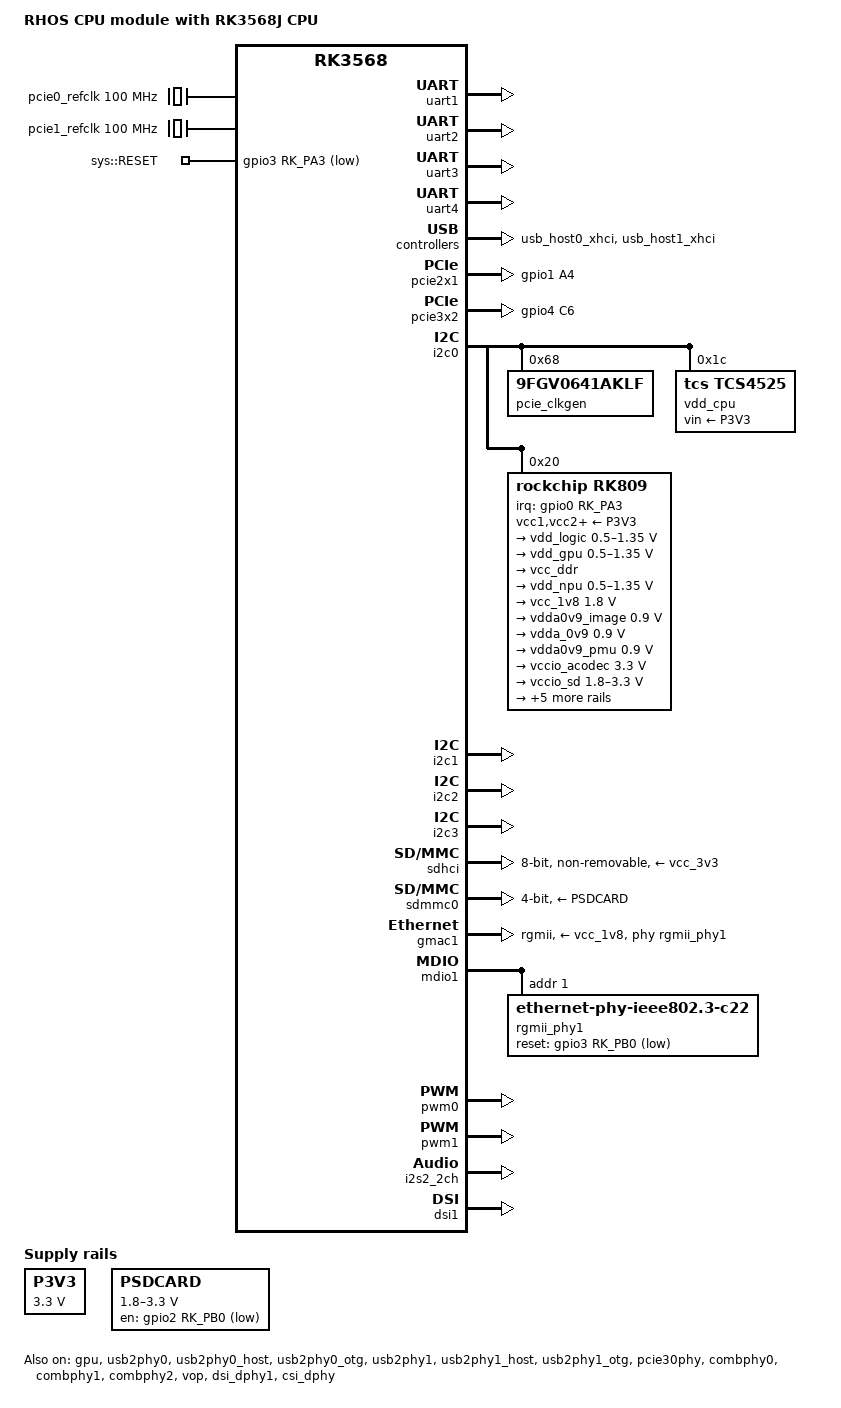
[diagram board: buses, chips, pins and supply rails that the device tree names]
// SPDX-License-Identifier: (GPL-2.0 OR MIT)
/*
 * Copyright (C) 2022 Radioavionica Corp., Alex A. Mihaylov <minimumlaw@rambler.ru>
 */

/dts-v1/;
#include <dt-bindings/gpio/gpio.h>
#include <dt-bindings/leds/common.h>
#include <dt-bindings/pinctrl/rockchip.h>
#include <dt-bindings/soc/rockchip,vop2.h>
#include "rk3568.dtsi"

/ {
	model = "RHOS CPU module with RK3568J CPU";
	compatible = "ravion,rk3568-rhos", "rockchip,rk3568";

	aliases {
		mmc0 = &sdhci;
		mmc1 = &sdmmc0;
	};

	chosen: chosen {
		stdout-path = "serial2:115200n8";
	};

	/*
	 * Regulators
	 */
	P3V3: vcc3v3-sys-regulator { /* Input 3.3V Voltage for SoM board */
		compatible = "regulator-fixed";
		regulator-name = "P3V3";
		regulator-always-on;
		regulator-boot-on;
		regulator-min-microvolt = <3300000>;
		regulator-max-microvolt = <3300000>;
	};

	PSDCARD: sdcard-vmmc-regulatror {
		pinctrl-names = "default";
		pinctrl-0 = <&psdcard_pins>;
		compatible = "regulator-gpio";
		regulator-name = "PSDCARD";
		regulator-min-microvolt = <1800000>;
		regulator-max-microvolt = <3300000>;
		regulator-always-on;
		regulator-boot-on;
		enable-gpios = <&gpio2 RK_PB0 GPIO_ACTIVE_LOW>;	/* soDimm157 */
		gpios = <&gpio2 RK_PB7 GPIO_ACTIVE_HIGH>;	/* soDimm159 */
		states =
		    <1800000 0x0>,
		    <3300000 0x1>;
	};

	/*
	 * Clock sources
	 */
	pcie0_refclk: pcie0-refclk { /* DD8, DIF0, PCIe3 */
		compatible = "fixed-clock";
		#clock-cells = <0>;
		clock-frequency = <100000000>;
	};

	pcie1_refclk: pcie1-refclk { /* DD8, DIF1, PCIe2 */
		compatible = "fixed-clock";
		#clock-cells = <0>;
		clock-frequency = <100000000>;
	};

	gpio-leds {
		compatible = "gpio-leds";

		sys_rst {
			label = "sys::RESET";
			gpios = <&gpio3 RK_PA3 GPIO_ACTIVE_LOW>;	/* soDimm165 */
			default-state = "off";
		};
	};
};

/*
 * CPU and them power management
 */
&cpu0 {	cpu-supply = <&vdd_cpu>; };
&cpu1 {	cpu-supply = <&vdd_cpu>; };
&cpu2 {	cpu-supply = <&vdd_cpu>; };
&cpu3 {	cpu-supply = <&vdd_cpu>; };

/*
 * GPU and them power management
 */
&gpu {
	mali-supply = <&vdd_gpu>;
	status = "okay";
};

/*
 * UARTs
 */
&uart1 {			/* Bluetooth UART3 on module */
	pinctrl-names = "default";
	pinctrl-0 = <&uart1m0_xfer
		    &uart1m0_ctsn
		    &uart1m0_rtsn>;
	uart-has-rtscts;
	status = "okay";
};
&uart2 { status = "okay"; };	/* Debug UART0 on module */
&uart3 { status = "okay"; };	/* Generic UART1 on module */
&uart4 {			/* Generic UART2 on module */
	pinctrl-0 = <&uart4m1_xfer>;
	status = "okay";
};

/*
 * USB interfaces
 */
&usb_host0_xhci {
	extcon = <&usb2phy0>;
	status = "okay";
};
&usb2phy0      { status = "okay"; };
&usb2phy0_host { status = "okay"; };
&usb2phy0_otg  { status = "okay"; };

&usb_host1_xhci {
	extcon = <&usb2phy1>;
	status = "okay";
};
&usb2phy1      { status = "okay"; };
&usb2phy1_host { status = "okay"; };
&usb2phy1_otg  { status = "okay"; };

/*
 * PCI-e interfaces
 */
&pcie2x1 {
	pinctrl-names = "default";
	pinctrl-0 = <&pcie20m2_pins
		     &pcie2_clkreq_soc>; /* pull-up GPIO4 C6 - PCI0_CLKREQ_SOC */
	status = "okay";
};

&pcie30phy { status = "okay"; };
&pcie3x2 {
	pinctrl-names = "default";
	pinctrl-0 = <&pcie30x2m2_pins
		     &pcie3_clkreq_soc>; /* pull-up GPIO1 A4 - PCI1_CLKREQ_SOC */
	status = "okay";
};

/*
 * I2C/SMBUS
 */
&i2c0 { /* PMIC, CPU voltage */
	status = "okay";

	pcie_clkgen: glkgen@68 { /* DD8 - not have driver this time */
		compatible = "9FGV0641AKLF";
		reg = <0x68>;
	};

	vdd_cpu: regulator@1c {
		compatible = "tcs,tcs4525";
		reg = <0x1c>;
		fcs,suspend-voltage-selector = <1>;
		regulator-name = "vdd_cpu";
		regulator-always-on;
		regulator-boot-on;
		regulator-min-microvolt = <800000>;
		regulator-max-microvolt = <1150000>;
		regulator-ramp-delay = <2300>;
		vin-supply = <&P3V3>;
		status = "okay";

		regulator-state-mem {
			regulator-off-in-suspend;
		};
	};

	rk809: pmic@20 {
		compatible = "rockchip,rk809";
		reg = <0x20>;
		interrupt-parent = <&gpio0>;
		interrupts = <RK_PA3 IRQ_TYPE_LEVEL_LOW>;
		assigned-clocks = <&cru I2S1_MCLKOUT_TX>;
		assigned-clock-parents = <&cru CLK_I2S1_8CH_TX>;
		#clock-cells = <1>;
		clock-names = "mclk";
		clocks = <&cru I2S1_MCLKOUT_TX>;
		pinctrl-names = "default";
		pinctrl-0 = <&pmic_int>, <&i2s1m0_mclk>;
		rockchip,system-power-controller;
		#sound-dai-cells = <0>;
		vcc1-supply = <&P3V3>;
		vcc2-supply = <&P3V3>;
		vcc3-supply = <&P3V3>;
		vcc4-supply = <&P3V3>;
		vcc5-supply = <&P3V3>;
		vcc6-supply = <&P3V3>; /* Via uncontrolled DA3 */
		vcc7-supply = <&P3V3>;
		vcc8-supply = <&P3V3>;
		vcc9-supply = <&P3V3>;
		wakeup-source;

		regulators {
			vdd_logic: DCDC_REG1 {
				regulator-name = "vdd_logic";
				regulator-always-on;
				regulator-boot-on;
				regulator-initial-mode = <0x2>;
				regulator-min-microvolt = <500000>;
				regulator-max-microvolt = <1350000>;
				regulator-ramp-delay = <6001>;

				regulator-state-mem {
					regulator-off-in-suspend;
				};
			};

			vdd_gpu: DCDC_REG2 {
				regulator-name = "vdd_gpu";
				regulator-always-on;
				regulator-initial-mode = <0x2>;
				regulator-min-microvolt = <500000>;
				regulator-max-microvolt = <1350000>;
				regulator-ramp-delay = <6001>;

				regulator-state-mem {
					regulator-off-in-suspend;
				};
			};

			vcc_ddr: DCDC_REG3 {
				regulator-name = "vcc_ddr";
				regulator-always-on;
				regulator-boot-on;
				regulator-initial-mode = <0x2>;

				regulator-state-mem {
					regulator-on-in-suspend;
				};
			};

			vdd_npu: DCDC_REG4 {
				regulator-name = "vdd_npu";
				regulator-initial-mode = <0x2>;
				regulator-min-microvolt = <500000>;
				regulator-max-microvolt = <1350000>;
				regulator-ramp-delay = <6001>;

				regulator-state-mem {
					regulator-off-in-suspend;
				};
			};

			vcc_1v8: DCDC_REG5 {
				regulator-name = "vcc_1v8";
				regulator-always-on;
				regulator-boot-on;
				regulator-min-microvolt = <1800000>;
				regulator-max-microvolt = <1800000>;

				regulator-state-mem {
					regulator-off-in-suspend;
				};
			};

			vdda0v9_image: LDO_REG1 {
				regulator-name = "vdda0v9_image";
				regulator-min-microvolt = <900000>;
				regulator-max-microvolt = <900000>;
				regulator-always-on;
				regulator-boot-on;


				regulator-state-mem {
					regulator-off-in-suspend;
				};
			};

			vdda_0v9: LDO_REG2 {
				regulator-name = "vdda_0v9";
				regulator-always-on;
				regulator-boot-on;
				regulator-min-microvolt = <900000>;
				regulator-max-microvolt = <900000>;

				regulator-state-mem {
					regulator-off-in-suspend;
				};
			};

			vdda0v9_pmu: LDO_REG3 {
				regulator-name = "vdda0v9_pmu";
				regulator-always-on;
				regulator-boot-on;
				regulator-min-microvolt = <900000>;
				regulator-max-microvolt = <900000>;

				regulator-state-mem {
					regulator-on-in-suspend;
					regulator-suspend-microvolt = <900000>;
				};
			};

			vccio_acodec: LDO_REG4 {
				regulator-name = "vccio_acodec";
				regulator-always-on;
				regulator-min-microvolt = <3300000>;
				regulator-max-microvolt = <3300000>;

				regulator-state-mem {
					regulator-on-in-suspend;
				};
			};

			vccio_sd: LDO_REG5 {
				regulator-name = "vccio_sd";
				regulator-min-microvolt = <1800000>;
				regulator-max-microvolt = <3300000>;
				regulator-always-on;

				regulator-state-mem {
					regulator-on-in-suspend;
				};
			};

			vcc3v3_pmu: LDO_REG6 {
				regulator-name = "vcc3v3_pmu";
				regulator-always-on;
				regulator-boot-on;
				regulator-min-microvolt = <3300000>;
				regulator-max-microvolt = <3300000>;

				regulator-state-mem {
					regulator-on-in-suspend;
					regulator-suspend-microvolt = <3300000>;
				};
			};

			vcca_1v8: LDO_REG7 {
				regulator-name = "vcca_1v8";
				regulator-always-on;
				regulator-boot-on;
				regulator-min-microvolt = <1800000>;
				regulator-max-microvolt = <1800000>;

				regulator-state-mem {
					regulator-off-in-suspend;
				};
			};

			vcca1v8_pmu: LDO_REG8 {
				regulator-name = "vcca1v8_pmu";
				regulator-always-on;
				regulator-boot-on;
				regulator-min-microvolt = <1800000>;
				regulator-max-microvolt = <1800000>;

				regulator-state-mem {
					regulator-on-in-suspend;
					regulator-suspend-microvolt = <1800000>;
				};
			};

			vcca1v8_image: LDO_REG9 {
				regulator-name = "vcca1v8_image";
				regulator-min-microvolt = <1800000>;
				regulator-max-microvolt = <1800000>;
				regulator-always-on;
				regulator-boot-on;

				regulator-state-mem {
					regulator-off-in-suspend;
				};
			};

			vcc_3v3: SWITCH_REG1 {
				regulator-name = "vcc_3v3";
				regulator-always-on;
				regulator-boot-on;

				regulator-state-mem {
					regulator-off-in-suspend;
				};
			};
		};
	};
};

/* soDimm099 SDA
 * soDimm101 SCL */
&i2c1 {
    status = "okay";
};

/* soDimm100 SDA
 * soDimm102 SCL */
&i2c2 {
    status = "okay";
};

/* soDimm129 SDA
 * soDimm127 SCL => SMBUS */
&i2c3 {
	pinctrl-0 = <&i2c3m1_xfer>;
	pinctrl-names = "default";
	status = "okay";
};

&sdhci { /* eMMC */
	pinctrl-names = "default";
	pinctrl-0 = <&emmc_bus8
		     &emmc_cmd
		     &emmc_clk
		     &emmc_datastrobe
		     &emmc_rstnout>;
	non-removable;
	bus-width = <8>;
	vmmc-supply = <&vcc_3v3>;
	vqmmc-supply = <&vcc_1v8>;	/* PMIC: SW5 */
	status = "okay";
};

&sdmmc0 { /* SD-Card */
	pinctrl-names = "default";
	pinctrl-0 = <&sdmmc0_bus4
		     &sdmmc0_clk
		     &sdmmc0_cmd>;
	bus-width = <4>;
	vmmc-supply = <&PSDCARD>;	/* Use soDimm159 pin for select voltatge */
	vqmmc-supply = <&vccio_sd>;	/* PMIC: LDO5 */
	broken-cd;			/* Ne _NOT_ use &sdmmc0_det gpio */
	no-1-8-v;			/* 3,3V default for board level, fix if required */
	status = "okay";
};

&gmac1 { /* Ethernet */
	/*
	 * RHOS module _NOT_ used 125MHz (GMAC1_MCLKINOUTM1) and
	 * 25MHz (CLK025M1) outputs, so we not init this clocks.
	 */
	clock_in_out = "output";
	assigned-clocks = <&cru SCLK_GMAC1_RX_TX>, <&cru SCLK_GMAC1>;
	assigned-clock-parents = <&cru SCLK_GMAC1_RGMII_SPEED>, <&cru CLK_MAC1_2TOP>;
	assigned-clock-rates = <0>, <125000000>;

	pinctrl-names = "default";
	pinctrl-0 = <&gmac1m1_miim
		     &gmac1m1_tx_bus2
		     &gmac1m1_rx_bus2
		     &gmac1m1_rgmii_clk
		     &gmac1m1_rgmii_bus>;

	tx-delay = <48>;
	rx-delay = <16>;
	phy-handle = <&rgmii_phy1>;
	phy-mode = "rgmii";
	phy-supply = <&vcc_1v8>;

	status = "okay";
};

&mdio1 {
	rgmii_phy1: ethernet-phy@1 {
		compatible = "ethernet-phy-ieee802.3-c22";
		pinctrl-names = "default";
		pinctrl-0 = <&gmac1_phy1_pins>;
		reg = <0x1>;

		reset-gpios = <&gpio3 RK_PB0 GPIO_ACTIVE_LOW>;
		reset-aasert-us = <20000>;
		reset-deassert-us= <100000>;
	};
};

&pwm0 { /* soDimm122 */
	pinctrl-names = "default";
	pinctrl-0 = <&pwm0m0_pins>;
	status = "okay";
};

&pwm1 { /* soDimm124 */
	pinctrl-names = "default";
	pinctrl-0 = <&pwm1m0_pins>;
	status = "okay";
};

/*****************************************************************************
* Required for proper work, but not critical for project
*****************************************************************************/
&combphy0 { status = "okay"; };
&combphy1 { status = "okay"; };
&combphy2 { status = "okay"; };

/*
 * Video and display subsustem
 */
&vop { status = "okay"; };
&vop_mmu { status = "okay"; };

/* VP0 support up to 4096x2304@60 with HDR10 (TRM-Part2, chapter 13.1)
 * We want hold them for (external) HDMI display
 **********************************************************************/
&vp0 {
	vp0_out_hdmi: endpoint@ROCKCHIP_VOP2_EP_HDMI0 {
		reg = <ROCKCHIP_VOP2_EP_HDMI0>;
		remote-endpoint = <&hdmi_in_vp0>;
	};
};

&hdmi_in {
	hdmi_in_vp0: endpoint {
		remote-endpoint = <&vp0_out_hdmi>;
	};
};

/* VP1/2 support up to 1920x1080@60 with 24bit (TRM-Part2, chapter 13.1)
 * We use them for (internal) display
 **********************************************************************/
&vp1 {
	vp1_out_mipi1: endpoint@ROCKCHIP_VOP2_EP_MIPI1 {
		reg = <ROCKCHIP_VOP2_EP_MIPI1>;
		remote-endpoint = <&mipi1_in_vp1>;
	};
};

&dsi1_in {
	mipi1_in_vp1: endpoint {
		remote-endpoint = <&vp1_out_mipi1>;
	};
};

&hdmi {
	avdd-0v9-supply = <&vdda0v9_image>;
	avdd-1v8-supply = <&vcca1v8_image>;
	pinctrl-names = "default";
	pinctrl-0 = <&hdmitx_scl &hdmitx_sda>;
};

&i2s2_2ch {
	pinctrl-names = "default";
	pinctrl-0 = <&i2s2m0_sclktx	/* soDimm130 */
		     &i2s2m0_lrcktx	/* soDimm132 */
		     &i2s2m0_sdo	/* soDimm134 */
		     &i2s2m0_sdi>;	/* soDimm136 */
	rockchip,trcm-sync-tx-only;	/* use only sclktx/lrcktx for both tx & rx */
	status = "okay";
};

/*
 * MIPI DSI interface
 */
&dsi_dphy1 { status = "okay"; };
&dsi1 { status = "okay"; };

/*
 * MIPI CSI interface
 */
&csi_dphy {
	status = "okay";

	ports {
		#address-cells = <1>;
		#size-cells = <0>;

		port@0 {
			#address-cells = <1>;
			#size-cells = <0>;
			reg = <0>;

			mipi_csi_receiver: endpoint@0 {
				reg = <0>;
			};
		};
	};
};

&pmu_io_domains {
	pmuio1-supply = <&vcc3v3_pmu>;
	pmuio2-supply = <&vcca1v8_pmu>;
	vccio1-supply = <&vcc_1v8>;
	vccio2-supply = <&vcc_1v8>;	/* PMIC: SW5 */
	vccio3-supply = <&vccio_sd>;	/* PMIC: LDO5 */
	vccio4-supply = <&vcc_1v8>;
	vccio5-supply = <&vcc_1v8>;
	vccio6-supply = <&vcc_1v8>;
	vccio7-supply = <&vcc_1v8>;
	status = "okay";
};


&pinctrl {
	pinctrl-names = "default";
	pinctrl-0 = <&gpio_bank1_pins
		     &gpio_bank2_pins
		     &gpio_bank3_pins
		     &smb_ctrl_pins>;

	psdcard {
		psdcard_pins: psdcard_pins {
			rockchip,pins =
/* 157 */			<2 RK_PB0 RK_FUNC_GPIO &pcfg_pull_up>, /* SD1_PWR  */
/* 159 */			<2 RK_PB7 RK_FUNC_GPIO &pcfg_pull_up>; /* SD1_18EN */
		};
	};

	pmic {
		pmic_int: pmic_int {
			rockchip,pins =
				<0 RK_PA3 RK_FUNC_GPIO &pcfg_pull_up>;
		};
	};

	pcie {
		pcie3_clkreq_soc: pcie3-clkreq-soc {
			rockchip,pins = <4 RK_PC6 RK_FUNC_GPIO &pcfg_pull_up>;
		};

		pcie2_clkreq_soc: pcie2-clkreq-soc {
			rockchip,pins = <1 RK_PA4 RK_FUNC_GPIO &pcfg_pull_up>;
		};
	};

	gmac1_phy1_ctrl {
		gmac1_phy1_pins: gmac1_phy1_pins {
			rockchip,pins = <3 RK_PB0 RK_FUNC_GPIO &pcfg_pull_none>; /* RSTN_ETHPHY */
		};
	};

	usb2_ctrl {
		usb2_0_ctrl_pins {
			rockchip,pins = /* VCCIO4 domain */
/* 013 */			<2 RK_PA3 RK_FUNC_GPIO &pcfg_pull_up>,	/* USB2_PEN0 */
/* 015 */			<2 RK_PA5 RK_FUNC_GPIO &pcfg_pull_up>;	/* USB2_OC0 */
		};

		usb2_1_ctrl_pins {
			rockchip,pins = /* VCCIO4 domain */
/* 006 */			<2 RK_PA7 RK_FUNC_GPIO &pcfg_pull_up>,	/* USB2_ID1 */
/* 014 */			<2 RK_PA4 RK_FUNC_GPIO &pcfg_pull_up>,	/* USB2_PEN1 */
/* 016 */			<2 RK_PA6 RK_FUNC_GPIO &pcfg_pull_up>;	/* USB2_OC1 */
		};
	};

	smbus_ctrl {
	  	smb_ctrl_pins: smb_ctrl_pins {
			rockchip,pins =
/* 131 */			<0 RK_PB0 RK_FUNC_GPIO &pcfg_pull_up>,	/* SMB_ALERT */
/* 133 */			<0 RK_PC1 RK_FUNC_GPIO &pcfg_pull_up>,	/* SMB_IN */
/* 135 */			<0 RK_PC4 RK_FUNC_GPIO &pcfg_pull_up>;	/* SMB_OUT */
		};
	};

	sdio_ctrl {
		sdio_ctrl_pins {
			rockchip,pins = /* VCCIO4 domain */
/* 157 */			<2 RK_PB0 RK_FUNC_GPIO &pcfg_pull_up>,	/* MMC1_PEN */
/* 159 */ 			<2 RK_PB7 RK_FUNC_GPIO &pcfg_pull_up>;	/* MMC1_18EN */
		};
	};

	gpio_bank1_ctrl {
		gpio_bank1_pins: gpio_bank1_pins {
			rockchip,pins = /* VCCIO5 domain */
/* 146 */			<2 RK_PD0 RK_FUNC_GPIO &pcfg_pull_up>,	/* UIO1_1 */
/* 148 */			<2 RK_PD1 RK_FUNC_GPIO &pcfg_pull_up>,	/* UIO1_2 */
/* 150 */			<2 RK_PD2 RK_FUNC_GPIO &pcfg_pull_up>,	/* UIO1_3 */
/* 152 */			<2 RK_PD3 RK_FUNC_GPIO &pcfg_pull_up>,	/* UIO1_4 */
/* 154 */			<2 RK_PD4 RK_FUNC_GPIO &pcfg_pull_up>,	/* UIO1_5 */
/* 156 */			<2 RK_PD5 RK_FUNC_GPIO &pcfg_pull_up>,	/* UIO1_6 */
/* 158 */			<2 RK_PD6 RK_FUNC_GPIO &pcfg_pull_up>,	/* UIO1_7 */
/* 160 */			<2 RK_PD7 RK_FUNC_GPIO &pcfg_pull_up>;	/* UIO1_8 */
		};
	};

	gpio_bank2_ctrl {
		gpio_bank2_pins: gpio_bank2_pins {
			rockchip,pins = /* VCCIO6 domain */
/* 163 */ 			<3 RK_PD0 RK_FUNC_GPIO &pcfg_pull_up>,	/* UIO2_1 */
/* 165 */			<3 RK_PD1 RK_FUNC_GPIO &pcfg_pull_up>,	/* UIO2_2 */
/* 167 */			<3 RK_PD2 RK_FUNC_GPIO &pcfg_pull_up>,	/* UIO2_3 */
/* 169 */			<3 RK_PD3 RK_FUNC_GPIO &pcfg_pull_up>,	/* UIO2_4 */
/* 171 */			<3 RK_PD4 RK_FUNC_GPIO &pcfg_pull_up>,	/* UIO2_5 */
/* 173 */			<3 RK_PD5 RK_FUNC_GPIO &pcfg_pull_up>,	/* UIO2_6 */
/* 175 */			<3 RK_PC6 RK_FUNC_GPIO &pcfg_pull_up>,	/* UIO2_7 */
/* 177 */			<3 RK_PC7 RK_FUNC_GPIO &pcfg_pull_up>;	/* UIO2_8 */
		};
	};

	gpio_bank3_ctrl {
		gpio_bank3_pins: gpio_bank3_pins {
			rockchip,pins = /* VCCIO5 domain */
/* 164 */			<3 RK_PA2 RK_FUNC_GPIO &pcfg_pull_up>,	/* UIO3_1 */
/* 166 */			<3 RK_PA3 RK_FUNC_GPIO &pcfg_pull_up>,	/* UIO3_2 */
/* 168 */			<3 RK_PA4 RK_FUNC_GPIO &pcfg_pull_up>,	/* UIO3_3 */
/* 170 */			<3 RK_PA5 RK_FUNC_GPIO &pcfg_pull_up>,	/* UIO3_4 */
/* 172 */			<3 RK_PA6 RK_FUNC_GPIO &pcfg_pull_up>,	/* UIO3_5 */
/* 174 */			<3 RK_PC4 RK_FUNC_GPIO &pcfg_pull_up>,	/* UIO3_6 */
/* 176 */			<3 RK_PC5 RK_FUNC_GPIO &pcfg_pull_up>,	/* UIO3_7 */
/* 178 */			<3 RK_PB4 RK_FUNC_GPIO &pcfg_pull_up>;	/* UIO3_8 */
		};
	};
};
